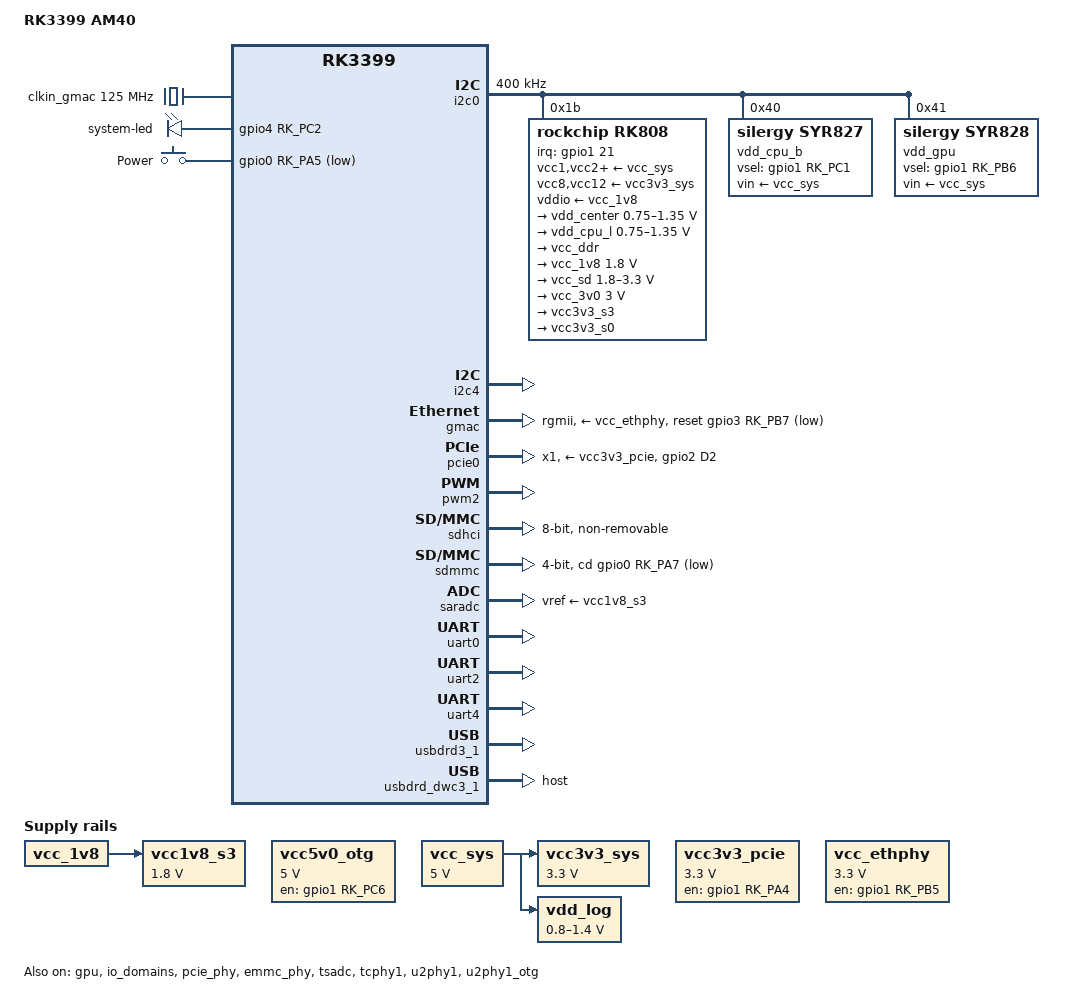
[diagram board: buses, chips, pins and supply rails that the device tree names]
// SPDX-License-Identifier: (GPL-2.0+ OR MIT)
/*
 * Copyright (c) 2025 wn2t@outlook.com
 * 
 * Compatible with RK3399 AM40 OPS device.
 * Disabled OPS related hardware, i.e., usb & hdmi.
 * No video & sound output.
 * No wifi & bluetooth.
*/

/dts-v1/;
#include <dt-bindings/input/linux-event-codes.h>
#include "rk3399.dtsi"

/ {
	model = "RK3399 AM40";
	compatible = "rk3399,am40", "rockchip,rk3399";

	aliases {
		ethernet0 = &gmac;
		mmc0 = &sdmmc;
		mmc1 = &sdhci;
	};

	display-subsystem {
		status = "disabled";
	};
	
	chosen {
		stdout-path = "serial2:1500000n8";
	};

	clkin_gmac: external-gmac-clock {
		compatible = "fixed-clock";
		clock-frequency = <125000000>;
		clock-output-names = "clkin_gmac";
		#clock-cells = <0>;
	};

	leds {
		compatible = "gpio-leds";
		pinctrl-names = "default";
		pinctrl-0 = <&sys_led_pin>;

		sys_led {
			label = "system-led";
			default-state = "on";
			gpios = <&gpio4 RK_PC2 GPIO_ACTIVE_HIGH>;
		};
	};
	
	keys: gpio-keys {
		compatible = "gpio-keys";
		pinctrl-names = "default";
		pinctrl-0 = <&pwr_btn>;
		autorepeat;

		key-power {
			label = "Power";
			gpios = <&gpio0 RK_PA5 GPIO_ACTIVE_LOW>;
			linux,code = <KEY_POWER>;
			wakeup-source;
		};
	};

	vcc5v0_otg: regulator-vcc5v0-otg {
		compatible = "regulator-fixed";
		enable-active-high;
		gpio = <&gpio1 RK_PC6 GPIO_ACTIVE_HIGH>;
		pinctrl-0 = <&otg_vbus_drv>;
		pinctrl-names = "default";
		regulator-name = "vcc5v0_otg";
		regulator-min-microvolt = <5000000>;
		regulator-max-microvolt = <5000000>;
	};

	vcc_sys: regulator-vcc-sys {
		compatible = "regulator-fixed";
		regulator-name = "vcc_sys";
		regulator-boot-on;
		regulator-always-on;
		regulator-min-microvolt = <5000000>;
		regulator-max-microvolt = <5000000>;
	};
	
	vcc3v3_sys: regulator-vcc3v3-sys {
		compatible = "regulator-fixed";
		regulator-name = "vcc3v3_sys";
		regulator-boot-on;
		regulator-always-on;
		regulator-min-microvolt = <3300000>;
		regulator-max-microvolt = <3300000>;
		vin-supply = <&vcc_sys>;
	};

	vcc3v3_pcie: regulator-vcc3v3-pcie {
		compatible = "regulator-fixed";
		enable-active-high;
		gpio = <&gpio1 RK_PA4 GPIO_ACTIVE_HIGH>;
		pinctrl-names = "default";
		pinctrl-0 = <&pcie_pwr_en>;
		regulator-name = "vcc3v3_pcie";
		regulator-boot-on;
		regulator-always-on;
		regulator-min-microvolt = <3300000>;
		regulator-max-microvolt = <3300000>;
	};

	vcc_ethphy: regulator-vcc-ethphy {
		compatible = "regulator-fixed";
		enable-active-high;
		gpio = <&gpio1 RK_PB5 GPIO_ACTIVE_HIGH>;
		pinctrl-names = "default";
		pinctrl-0 = <&eth_phy_pwr>;
		regulator-name = "vcc_ethphy";
		regulator-boot-on;
		regulator-always-on;
		regulator-min-microvolt = <3300000>;
		regulator-max-microvolt = <3300000>;
	};

	vcc1v8_s3: regulator-vcc1v8-s3 {
		compatible = "regulator-fixed";
		regulator-name = "vcc1v8_s3";
		regulator-boot-on;
		regulator-always-on;
		regulator-min-microvolt = <1800000>;
		regulator-max-microvolt = <1800000>;
		vin-supply = <&vcc_1v8>;
	};

	vdd_log: regulator-vdd-log {
		compatible = "pwm-regulator";
		pwms = <&pwm2 0 25000 1>;
		regulator-name = "vdd_log";
		regulator-always-on;
		regulator-boot-on;
		regulator-min-microvolt = <800000>;
		regulator-max-microvolt = <1400000>;
		rockchip,pwm_voltage = <900000>;
		vin-supply = <&vcc_sys>;
	};
};

&i2c0 {
	clock-frequency = <400000>;
	i2c-scl-rising-time-ns = <168>;
	i2c-scl-falling-time-ns = <4>;
	status = "okay";

	rk808: pmic@1b {
		compatible = "rockchip,rk808";
		reg = <0x1b>;
		interrupt-parent = <&gpio1>;
		interrupts = <21 IRQ_TYPE_LEVEL_LOW>;
		#clock-cells = <1>;
		clock-output-names = "xin32k", "rk808-clkout2";
		pinctrl-names = "default";
		pinctrl-0 = <&pmic_int_l>;
		system-power-controller;
		wakeup-source;

		vcc1-supply = <&vcc_sys>;
		vcc2-supply = <&vcc_sys>;
		vcc3-supply = <&vcc_sys>;
		vcc4-supply = <&vcc_sys>;
		vcc6-supply = <&vcc_sys>;
		vcc7-supply = <&vcc_sys>;
		vcc8-supply = <&vcc3v3_sys>;
		vcc9-supply = <&vcc_sys>;
		vcc10-supply = <&vcc_sys>;
		vcc11-supply = <&vcc_sys>;
		vcc12-supply = <&vcc3v3_sys>;
		vddio-supply = <&vcc_1v8>;

		regulators {
			vdd_center: DCDC_REG1 {
				regulator-name = "vdd_center";
				regulator-always-on;
				regulator-boot-on;
				regulator-min-microvolt = <750000>;
				regulator-max-microvolt = <1350000>;
				regulator-ramp-delay = <6001>;
				regulator-state-mem {
					regulator-off-in-suspend;
				};
			};

			vdd_cpu_l: DCDC_REG2 {
				regulator-name = "vdd_cpu_l";
				regulator-always-on;
				regulator-boot-on;
				regulator-min-microvolt = <750000>;
				regulator-max-microvolt = <1350000>;
				regulator-ramp-delay = <6001>;
				regulator-state-mem {
					regulator-off-in-suspend;
				};
			};

			vcc_ddr: DCDC_REG3 {
				regulator-name = "vcc_ddr";
				regulator-always-on;
				regulator-boot-on;
				regulator-state-mem {
					regulator-on-in-suspend;
				};
			};

			vcc_1v8: DCDC_REG4 {
				regulator-name = "vcc_1v8";
				regulator-always-on;
				regulator-boot-on;
				regulator-min-microvolt = <1800000>;
				regulator-max-microvolt = <1800000>;
				regulator-state-mem {
					regulator-on-in-suspend;
					regulator-suspend-microvolt = <1800000>;
				};
			};

			vcc_sd: LDO_REG1 {
				regulator-name = "vcc_sd";
				regulator-min-microvolt = <1800000>;
				regulator-max-microvolt = <3300000>;
				regulator-boot-on;
				regulator-always-on;
				regulator-state-mem {
					regulator-off-in-suspend;
				};
			};

			vcc_3v0: LDO_REG2 {
				regulator-name = "vcc_3v0";
				regulator-boot-on;
				regulator-always-on;
				regulator-min-microvolt = <3000000>;
				regulator-max-microvolt = <3000000>;
				regulator-state-mem {
					regulator-off-in-suspend;
				};
			};

			vcc3v3_s3: SWITCH_REG1 {
				regulator-name = "vcc3v3_s3";
				regulator-always-on;
				regulator-boot-on;
				regulator-state-mem {
					regulator-off-in-suspend;
				};
			};

			vcc3v3_s0: SWITCH_REG2 {
				regulator-name = "vcc3v3_s0";
				regulator-always-on;
				regulator-boot-on;
				regulator-state-mem {
					regulator-off-in-suspend;
				};
			};
		};
	};

	vdd_cpu_b: regulator@40 {
		compatible = "silergy,syr827";
		reg = <0x40>;
		fcs,suspend-voltage-selector = <1>;
		pinctrl-names = "default";
		pinctrl-0 = <&vsel1_gpio>;
		vsel-gpios = <&gpio1 RK_PC1 GPIO_ACTIVE_HIGH>;
		regulator-name = "vdd_cpu_b";
		regulator-min-microvolt = <712500>;
		regulator-max-microvolt = <1500000>;
		regulator-ramp-delay = <1000>;
		regulator-always-on;
		regulator-boot-on;
		vin-supply = <&vcc_sys>;

		regulator-state-mem {
			regulator-off-in-suspend;
		};
	};

	vdd_gpu: regulator@41 {
		compatible = "silergy,syr828";
		reg = <0x41>;
		fcs,suspend-voltage-selector = <1>;
		pinctrl-names = "default";
		pinctrl-0 = <&vsel2_gpio>;
		vsel-gpios = <&gpio1 RK_PB6 GPIO_ACTIVE_HIGH>;
		regulator-name = "vdd_gpu";
		regulator-min-microvolt = <712500>;
		regulator-max-microvolt = <1500000>;
		regulator-ramp-delay = <1000>;
		regulator-always-on;
		regulator-boot-on;
		vin-supply = <&vcc_sys>;

		regulator-state-mem {
			regulator-off-in-suspend;
		};
	};
};

&cpu_l0 {
	cpu-supply = <&vdd_cpu_l>;
};

&cpu_l1 {
	cpu-supply = <&vdd_cpu_l>;
};

&cpu_l2 {
	cpu-supply = <&vdd_cpu_l>;
};

&cpu_l3 {
	cpu-supply = <&vdd_cpu_l>;
};

&cpu_b0 {
	cpu-supply = <&vdd_cpu_b>;
};

&cpu_b1 {
	cpu-supply = <&vdd_cpu_b>;
};

&gpu {
	mali-supply = <&vdd_gpu>;
	status = "okay";
};

&i2c4 {
	status = "okay";
};

&io_domains {
	audio-supply = <&vcc1v8_s3>;
	bt656-supply = <&vcc1v8_s3>;
	gpio1830-supply = <&vcc_3v0>;
	sdmmc-supply = <&vcc_sd>;
	status = "okay";
};

&pmu_io_domains {
	pmu1830-supply = <&vcc_1v8>;
	status = "okay";
};

&gmac {
	assigned-clock-parents = <&clkin_gmac>;
	assigned-clocks = <&cru SCLK_RMII_SRC>;
	clock_in_out = "input";
	phy-supply = <&vcc_ethphy>;
	phy-mode = "rgmii";
	pinctrl-names = "default";
	pinctrl-0 = <&rgmii_pins>;
	snps,reset-gpio = <&gpio3 RK_PB7 GPIO_ACTIVE_LOW>;
	snps,reset-active-low;
	snps,reset-delays-us = <0 10000 50000>;
	tx_delay = <0x21>;
	rx_delay = <0x1e>;
	status = "okay";
};

&pcie_phy {
	status = "okay";
};

&pcie0 {
	ep-gpios = <&gpio0 RK_PB5 GPIO_ACTIVE_HIGH>;
	max-link-speed = <2>;
	num-lanes = <1>;
	pinctrl-names = "default";
	pinctrl-0 = <&pcie_clkreqn>;
	vpcie3v3-supply = <&vcc3v3_pcie>;
	status = "okay";
};

&pwm2 {
	status = "okay";
};

&emmc_phy {
	status = "okay";
};

&sdhci {
	bus-width = <8>;
	mmc-hs400-1_8v;
	mmc-hs400-enhanced-strobe;
	non-removable;
	status = "okay";
};

&sdmmc {
	bus-width = <4>;
	cap-mmc-highspeed;
	cap-sd-highspeed;
	sd-uhs-sdr104;
	cd-gpios = <&gpio0 RK_PA7 GPIO_ACTIVE_LOW>;
	disable-wp;
	pinctrl-names = "default";
	pinctrl-0 = <&sdmmc_clk &sdmmc_cmd &sdmmc_cd &sdmmc_bus4>;
	vqmmc-supply = <&vcc_sd>;
	status = "okay";
};

&saradc {
	vref-supply = <&vcc1v8_s3>;
	status = "okay";
}; 

&tsadc {
	/* tshut mode 0:CRU 1:GPIO */
	rockchip,hw-tshut-mode = <1>;
	/* tshut polarity 0:LOW 1:HIGH */
	rockchip,hw-tshut-polarity = <1>;
	status = "okay";
};

&uart0 {
	pinctrl-names = "default";
	pinctrl-0 = <&uart0_xfer &uart0_cts>;
	status = "okay";
};

&uart2 {
	status = "okay";
};

&uart4 {
	status = "okay";
};

&tcphy1 {
	status = "okay";
};

&u2phy1 {
	status = "okay";
};

&u2phy1_otg {
	phy-supply = <&vcc5v0_otg>;
	status = "okay";
};

&usbdrd3_1 {
	status = "okay";
};

&usbdrd_dwc3_1 {
	dr_mode = "host";
	status = "okay";
};

&pinctrl {
	buttons {
		pwr_btn: pwr-btn {
			rockchip,pins = <0 RK_PA5 RK_FUNC_GPIO &pcfg_pull_up>;
		};
	};

	leds {
		sys_led_pin: sys-led-pin {
			rockchip,pins = <4 RK_PC2 RK_FUNC_GPIO &pcfg_pull_none>;
		};
	};

	eth_phy {
		eth_phy_pwr: eth-phy-pwr {
			rockchip,pins = <1 RK_PB5 RK_FUNC_GPIO &pcfg_pull_none>;
		};
	};

	pcie {
		pcie_pwr_en: pcie-pwr-en {
			rockchip,pins = <1 RK_PA4 RK_FUNC_GPIO &pcfg_pull_none>;
		};

		pcie_clkreqn: pci-clkreqn {
			rockchip,pins = <2 RK_PD2 2 &pcfg_pull_none>;
		};
	};

	pmic {
		pmic_int_l: pmic-int-l {
			rockchip,pins = <1 RK_PC5 RK_FUNC_GPIO &pcfg_pull_up>;
		};

		vsel1_gpio: vsel1-gpio {
			rockchip,pins = <1 RK_PC1 RK_FUNC_GPIO &pcfg_pull_down>;
		};

		vsel2_gpio: vsel2-gpio {
			rockchip,pins = <1 RK_PB6 RK_FUNC_GPIO &pcfg_pull_down>;
		};
	};

	usb {
		otg_vbus_drv: otg-vbus-drv {
			rockchip,pins = <1 RK_PC6 RK_FUNC_GPIO &pcfg_pull_none>;
		};
	};
};

